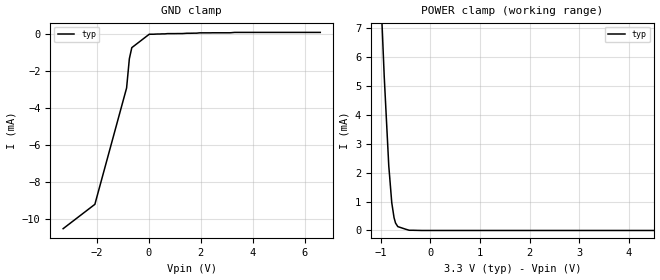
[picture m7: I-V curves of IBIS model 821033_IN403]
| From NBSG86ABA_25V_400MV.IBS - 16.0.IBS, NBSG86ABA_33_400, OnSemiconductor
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| COPYRIGHT(C) MENTOR GRAPHICS CORPORATION 2002 ALL
| RIGHTS RESERVED. THIS WORK CONTAINS PROPRIETARY
| INFORMATION WHICH IS THE PROPERTY OF MENTOR GRAPHICS
| CORPORATION OR ITS LICENSORS. USE OF THESE MATERIALS
| IS SUBJECT TO THE TERMS BELOW.
| USE: MENTOR GRAPHICS HAS LICENSED IBIS MODELS TO
| SPECIFIC INTEGRATED CIRCUIT SUPPLIERS ("IC VENDORS")
| FOR USE AND DISTRIBUTION AS FOLLOWS: EACH IC VENDOR
| MAY USE IBIS MODELS, AND DISTRIBUTE THEM TO IC VENDOR'S
| CUSTOMERS TO USE, SOLELY FOR DEVELOPING PRINTED
| CIRCUIT BOARD DESIGNS. NO OTHER USE OR DISTRIBUTION
| OF THESE MATERIALS IS PERMITTED.
| Model Application Version 1.89 2/18/99.
[Model] 821033_IN403
Model_type Input_ECL
Vinl = 1.575V
Vinh = 1.725V
C_comp 500.0fF NA NA
| variable typ   min   max
[Voltage Range] 3.300V NA NA
[GND Clamp Reference] 0.000V NA NA
[POWER Clamp Reference] 3.300V NA NA
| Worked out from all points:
|   GND clamp passes 1 mA (typ) near -0.70 V on its own axis
|   POWER clamp passes 1 mA (typ) near -0.78 V on its own axis
[GND Clamp]
-3.3V     -10.53mA   NA         NA
-2.078V   -9.215mA   NA         NA
-856.7mV  -2.929mA   NA         NA
-750.1mV  -1.345mA   NA         NA
-656.4mV  -749.4uA   NA         NA
15.5mV    -24.2uA    NA         NA
3.299V    75.06uA    NA         NA
6.6V      75.06uA    NA         NA
[POWER Clamp]
-3.3V     63.97mA    NA         NA
-1.139V   13.86mA    NA         NA
-931.3mV  5.322mA    NA         NA
-840.1mV  2.243mA    NA         NA
-779.3mV  955.9uA    NA         NA
-733.5mV  441.5uA    NA         NA
-703.2mV  255.7uA    NA         NA
-657.6mV  133.6uA    NA         NA
-427mV    7.227uA    NA         NA
-179.3mV  0A         NA         NA
6.6V      0A         NA         NA
